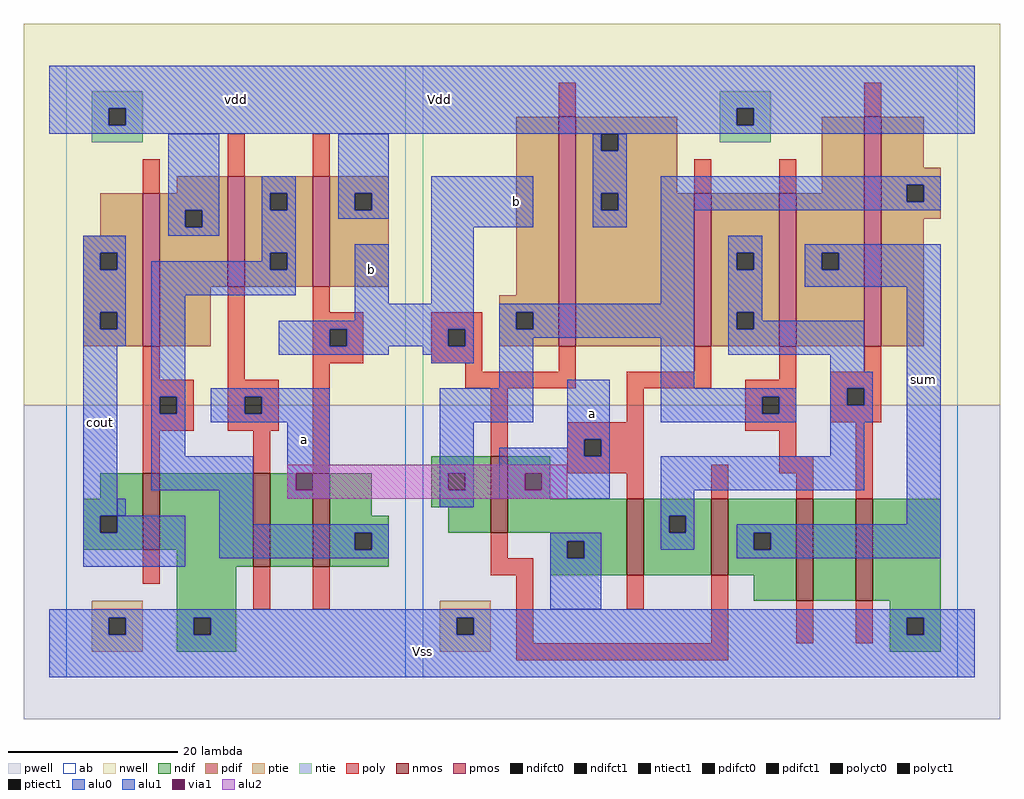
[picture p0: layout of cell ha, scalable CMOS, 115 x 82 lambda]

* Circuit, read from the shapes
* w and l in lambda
.subckt ha Vdd Vss a b cout sum
M1 Vss n1 cout Vss nfet w=9 l=2
M2 n2 a Vss Vss nfet w=11 l=2
M3 n1 b n2 Vss nfet w=11 l=2
M4 Vss b n3 Vss nfet w=9 l=2
M5 n4 a Vss Vss nfet w=9 l=2
M6 sum b n4 Vss nfet w=9 l=2
M7 n5 n3 sum Vss nfet w=12 l=2
M8 Vss n4 n5 Vss nfet w=12 l=2
M9 Vdd n1 cout Vdd pfet w=18 l=2
M10 n1 a Vdd Vdd pfet w=13 l=2
M11 Vdd b n1 Vdd pfet w=13 l=2
M12 Vdd b n3 Vdd pfet w=27 l=2
M13 n4 a Vdd Vdd pfet w=18 l=2
M14 sum n3 n4 Vdd pfet w=18 l=2
M15 n3 n4 sum Vdd pfet w=27 l=2
.ends

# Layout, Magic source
magic
tech scmos
<< ab >>
rect -36 5 4 77
rect 6 5 69 77
<< nwell >>
rect -41 37 74 82
<< pwell >>
rect -41 0 74 37
<< poly >>
rect 22 71 24 75
rect -27 62 -25 66
rect -17 64 -15 69
rect -7 64 -5 69
rect -27 40 -25 44
rect -17 40 -15 51
rect -7 48 -5 51
rect -7 46 -1 48
rect -7 44 -5 46
rect -3 44 -1 46
rect -7 42 -1 44
rect 7 46 13 48
rect 7 44 9 46
rect 11 44 13 46
rect 58 71 60 75
rect 38 62 40 66
rect 48 62 50 66
rect 7 42 13 44
rect -27 38 -21 40
rect -27 36 -25 38
rect -23 36 -21 38
rect -27 34 -21 36
rect -17 38 -11 40
rect -17 36 -15 38
rect -13 36 -11 38
rect -17 34 -11 36
rect -27 29 -25 34
rect -14 29 -12 34
rect -7 29 -5 42
rect 11 41 13 42
rect 22 41 24 44
rect 38 41 40 44
rect 11 39 24 41
rect 30 39 40 41
rect 48 40 50 44
rect 58 41 60 44
rect 14 31 16 39
rect 30 35 32 39
rect 23 33 32 35
rect 44 38 50 40
rect 44 36 46 38
rect 48 36 50 38
rect 44 34 50 36
rect 54 39 60 41
rect 54 37 56 39
rect 58 37 60 39
rect 54 35 60 37
rect 23 31 25 33
rect 27 31 32 33
rect -27 16 -25 20
rect 23 29 32 31
rect 48 31 50 34
rect 30 26 32 29
rect 40 26 42 30
rect 48 29 52 31
rect 50 26 52 29
rect 57 26 59 35
rect 14 19 16 22
rect -14 13 -12 18
rect -7 13 -5 18
rect 14 17 19 19
rect 17 9 19 17
rect 30 13 32 17
rect 40 9 42 17
rect 50 9 52 14
rect 57 9 59 14
rect 17 7 42 9
<< ndif >>
rect 7 29 14 31
rect -32 26 -27 29
rect -34 24 -27 26
rect -34 22 -32 24
rect -30 22 -27 24
rect -34 20 -27 22
rect -25 20 -14 29
rect -23 18 -14 20
rect -12 18 -7 29
rect -5 24 0 29
rect 7 27 9 29
rect 11 27 14 29
rect 7 25 14 27
rect -5 22 2 24
rect 9 22 14 25
rect 16 26 21 31
rect 16 22 30 26
rect -5 20 -2 22
rect 0 20 2 22
rect -5 18 2 20
rect 21 21 30 22
rect 21 19 23 21
rect 25 19 30 21
rect -23 12 -16 18
rect 21 17 30 19
rect 32 24 40 26
rect 32 22 35 24
rect 37 22 40 24
rect 32 17 40 22
rect 42 22 50 26
rect 42 20 45 22
rect 47 20 50 22
rect 42 17 50 20
rect -23 10 -21 12
rect -19 10 -16 12
rect -23 8 -16 10
rect 45 14 50 17
rect 52 14 57 26
rect 59 14 67 26
rect 61 12 67 14
rect 61 10 63 12
rect 65 10 67 12
rect 61 8 67 10
<< pdif >>
rect -23 62 -17 64
rect -32 57 -27 62
rect -34 55 -27 57
rect -34 53 -32 55
rect -30 53 -27 55
rect -34 48 -27 53
rect -34 46 -32 48
rect -30 46 -27 48
rect -34 44 -27 46
rect -25 60 -17 62
rect -25 58 -22 60
rect -20 58 -17 60
rect -25 51 -17 58
rect -15 62 -7 64
rect -15 60 -12 62
rect -10 60 -7 62
rect -15 55 -7 60
rect -15 53 -12 55
rect -10 53 -7 55
rect -15 51 -7 53
rect -5 62 2 64
rect -5 60 -2 62
rect 0 60 2 62
rect -5 51 2 60
rect -25 44 -19 51
rect 17 50 22 71
rect 15 48 22 50
rect 15 46 17 48
rect 19 46 22 48
rect 15 44 22 46
rect 24 69 36 71
rect 24 67 27 69
rect 29 67 36 69
rect 24 62 36 67
rect 53 62 58 71
rect 24 60 27 62
rect 29 60 38 62
rect 24 44 38 60
rect 40 55 48 62
rect 40 53 43 55
rect 45 53 48 55
rect 40 48 48 53
rect 40 46 43 48
rect 45 46 48 48
rect 40 44 48 46
rect 50 55 58 62
rect 50 53 53 55
rect 55 53 58 55
rect 50 44 58 53
rect 60 65 65 71
rect 60 63 67 65
rect 60 61 63 63
rect 65 61 67 63
rect 60 59 67 61
rect 60 44 65 59
<< alu1 >>
rect -38 72 71 77
rect -38 70 -31 72
rect -29 70 43 72
rect 45 70 71 72
rect -38 69 71 70
rect -34 55 -29 57
rect -34 53 -32 55
rect -30 53 -29 55
rect 7 58 19 64
rect -34 48 -29 53
rect -34 46 -32 48
rect -30 46 -29 48
rect -34 44 -29 46
rect -34 24 -30 44
rect -2 49 2 56
rect 7 49 12 58
rect -2 47 12 49
rect -11 46 12 47
rect -11 44 -5 46
rect -3 44 9 46
rect 11 44 12 46
rect -11 43 2 44
rect 6 43 12 44
rect 7 42 12 43
rect -19 38 -5 39
rect -19 36 -15 38
rect -13 36 -5 38
rect -19 35 -5 36
rect -34 22 -32 24
rect -30 22 -22 24
rect -34 18 -22 22
rect -10 29 -5 35
rect -10 27 -9 29
rect -7 27 -5 29
rect -10 26 -5 27
rect 23 33 28 40
rect 51 55 67 56
rect 51 53 53 55
rect 55 53 67 55
rect 51 51 67 53
rect 23 32 25 33
rect 15 31 25 32
rect 27 31 28 33
rect 15 29 28 31
rect 15 27 18 29
rect 20 27 28 29
rect 15 26 28 27
rect 63 23 67 51
rect 43 22 67 23
rect 43 20 45 22
rect 47 20 67 22
rect 43 19 67 20
rect -38 12 71 13
rect -38 10 -31 12
rect -29 10 -21 12
rect -19 10 10 12
rect 12 10 63 12
rect 65 10 71 12
rect -38 5 71 10
<< alu2 >>
rect -10 29 23 30
rect -10 27 -9 29
rect -7 27 18 29
rect 20 27 23 29
rect -10 26 23 27
<< ptie >>
rect -33 12 -27 14
rect -33 10 -31 12
rect -29 10 -27 12
rect -33 8 -27 10
rect 8 12 14 14
rect 8 10 10 12
rect 12 10 14 12
rect 8 8 14 10
<< ntie >>
rect -33 72 -27 74
rect -33 70 -31 72
rect -29 70 -27 72
rect 41 72 47 74
rect -33 68 -27 70
rect 41 70 43 72
rect 45 70 47 72
rect 41 68 47 70
<< nmos >>
rect -27 20 -25 29
rect -14 18 -12 29
rect -7 18 -5 29
rect 14 22 16 31
rect 30 17 32 26
rect 40 17 42 26
rect 50 14 52 26
rect 57 14 59 26
<< pmos >>
rect -27 44 -25 62
rect -17 51 -15 64
rect -7 51 -5 64
rect 22 44 24 71
rect 38 44 40 62
rect 48 44 50 62
rect 58 44 60 71
<< polyct0 >>
rect -25 36 -23 38
rect 46 36 48 38
rect 56 37 58 39
<< polyct1 >>
rect -5 44 -3 46
rect 9 44 11 46
rect -15 36 -13 38
rect 25 31 27 33
<< ndifct0 >>
rect 9 27 11 29
rect -2 20 0 22
rect 23 19 25 21
rect 35 22 37 24
<< ndifct1 >>
rect -32 22 -30 24
rect 45 20 47 22
rect -21 10 -19 12
rect 63 10 65 12
<< ntiect1 >>
rect -31 70 -29 72
rect 43 70 45 72
<< ptiect1 >>
rect -31 10 -29 12
rect 10 10 12 12
<< pdifct0 >>
rect -22 58 -20 60
rect -12 60 -10 62
rect -12 53 -10 55
rect -2 60 0 62
rect 17 46 19 48
rect 27 67 29 69
rect 27 60 29 62
rect 43 53 45 55
rect 43 46 45 48
rect 63 61 65 63
<< pdifct1 >>
rect -32 53 -30 55
rect -32 46 -30 48
rect 53 53 55 55
<< alu0 >>
rect -24 60 -18 69
rect -24 58 -22 60
rect -20 58 -18 60
rect -24 57 -18 58
rect -13 62 -9 64
rect -13 60 -12 62
rect -10 60 -9 62
rect -13 55 -9 60
rect -4 62 2 69
rect 26 67 27 69
rect 29 67 30 69
rect -4 60 -2 62
rect 0 60 2 62
rect -4 59 2 60
rect 26 62 30 67
rect 26 60 27 62
rect 29 60 30 62
rect 26 58 30 60
rect 34 63 67 64
rect 34 61 63 63
rect 65 61 67 63
rect 34 60 67 61
rect -13 54 -12 55
rect -26 53 -12 54
rect -10 53 -9 55
rect -26 50 -9 53
rect -26 38 -22 50
rect 34 49 38 60
rect 15 48 38 49
rect 15 46 17 48
rect 19 46 38 48
rect 15 45 38 46
rect 15 39 19 45
rect -26 36 -25 38
rect -23 36 -22 38
rect -26 31 -22 36
rect -26 27 -14 31
rect -30 24 -29 26
rect -18 23 -14 27
rect 8 35 19 39
rect 8 29 12 35
rect 34 39 38 45
rect 42 55 46 57
rect 42 53 43 55
rect 45 53 46 55
rect 42 48 46 53
rect 42 46 43 48
rect 45 47 46 48
rect 45 46 58 47
rect 42 43 58 46
rect 54 41 58 43
rect 54 39 59 41
rect 34 38 50 39
rect 34 36 46 38
rect 48 36 50 38
rect 34 35 50 36
rect 54 37 56 39
rect 58 37 59 39
rect 54 35 59 37
rect 8 27 9 29
rect 11 27 12 29
rect 8 25 12 27
rect 54 31 58 35
rect 34 27 58 31
rect 34 24 38 27
rect -18 22 2 23
rect 34 22 35 24
rect 37 22 38 24
rect -18 20 -2 22
rect 0 20 2 22
rect -18 19 2 20
rect 21 21 27 22
rect 21 19 23 21
rect 25 19 27 21
rect 34 20 38 22
rect 21 13 27 19
<< via1 >>
rect -9 27 -7 29
rect 18 27 20 29
<< labels >>
rlabel alu1 17 61 17 61 6 b
rlabel alu1 8 73 8 73 1 Vdd
rlabel alu1 65 40 65 40 1 sum
rlabel alu1 -8 33 -8 33 6 a
rlabel alu1 -16 73 -16 73 6 vdd
rlabel alu1 0 53 0 53 6 b
rlabel alu1 6 8 6 8 1 Vss
rlabel alu1 26 36 26 36 1 a
rlabel alu1 -32 35 -32 35 1 cout
<< end >>
